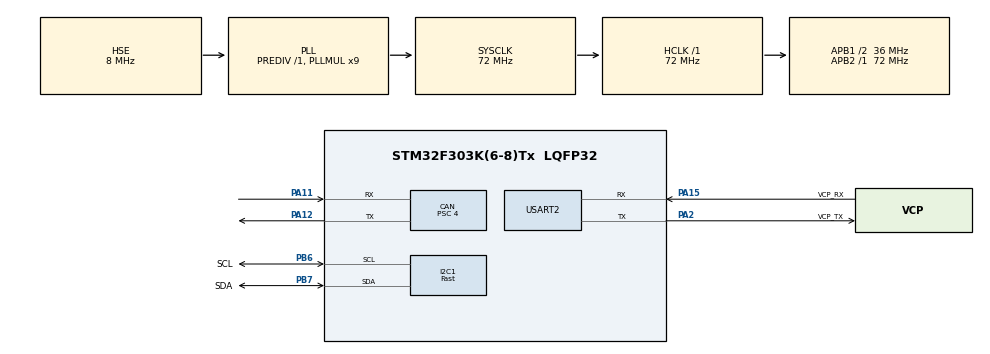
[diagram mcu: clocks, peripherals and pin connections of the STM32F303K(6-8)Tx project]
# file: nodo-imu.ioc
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CAN.ABOM=ENABLE
CAN.BS1=CAN_BS1_7TQ
CAN.CalculateTimeQuantum=111.11111111111111
CAN.Prescaler=4
CAN.TXFP=ENABLE
I2C1.I2C_Speed_Mode=I2C_Fast
I2C1.Timing=0x0000020B
Mcu.Family=STM32F3
Mcu.Name=STM32F303K(6-8)Tx
Mcu.Package=LQFP32
NVIC.PriorityGroup=NVIC_PRIORITYGROUP_4
PA11.Mode=Master
PA11.Signal=CAN_RX
PA12.Mode=Master
PA12.Signal=CAN_TX
PA13.GPIO_Label=SWDIO
PA13.Mode=Serial_Wire
PA13.Signal=SYS_JTMS-SWDIO
PA14.GPIO_Label=SWCLK
PA14.Mode=Serial_Wire
PA14.Signal=SYS_JTCK-SWCLK
PA15.GPIO_Label=VCP_RX
PA15.Mode=Asynchronous
PA15.Signal=USART2_RX
PA2.GPIO_Label=VCP_TX
PA2.Mode=Asynchronous
PA2.Signal=USART2_TX
PB6.GPIO_Label=SCL
PB6.Mode=I2C
PB6.Signal=I2C1_SCL
PB7.GPIO_Label=SDA
PB7.Mode=I2C
PB7.Signal=I2C1_SDA
PF0\ /\ OSC_IN.GPIO_Label=MCO
PF0\ /\ OSC_IN.Mode=HSE-External-Clock-Source
PF0\ /\ OSC_IN.Signal=RCC_OSC_IN
ProjectManager.HeapSize=0x200
ProjectManager.StackSize=0x400
ProjectManager.TargetToolchain=SW4STM32
RCC.AHBFreq_Value=72000000
RCC.APB1CLKDivider=RCC_HCLK_DIV2
RCC.APB1Freq_Value=36000000
RCC.APB1TimFreq_Value=72000000
RCC.APB2Freq_Value=72000000
RCC.APB2TimFreq_Value=72000000
RCC.CortexFreq_Value=72000000
RCC.HCLKFreq_Value=72000000
RCC.HSE_VALUE=8000000
RCC.HSI_VALUE=8000000
RCC.PLLMUL=RCC_PLL_MUL9
RCC.PLLSourceVirtual=RCC_PLLSOURCE_HSE
RCC.SYSCLKFreq_VALUE=72000000
RCC.SYSCLKSourceVirtual=RCC_SYSCLKSOURCE_PLLCLK
USART2.VirtualMode-Asynchronous=VM_ASYNC
board=NUCLEO-F303K8

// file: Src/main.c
/**
 ******************************************************************************
 * @file           : main.c
 * @brief          : Main program body
 ******************************************************************************
 ** This notice applies to any and all portions of this file
 * that are not between comment pairs USER CODE BEGIN and
 * USER CODE END. Other portions of this file, whether
 * inserted by the user or by software development tools
 * are owned by their respective copyright owners.
 *
 * COPYRIGHT(c) 2018 STMicroelectronics
 *
 * Redistribution and use in source and binary forms, with or without modification,
 * are permitted provided that the following conditions are met:
 *   1. Redistributions of source code must retain the above copyright notice,
 *      this list of conditions and the following disclaimer.
 *   2. Redistributions in binary form must reproduce the above copyright notice,
 *      this list of conditions and the following disclaimer in the documentation
 *      and/or other materials provided with the distribution.
 *   3. Neither the name of STMicroelectronics nor the names of its contributors
 *      may be used to endorse or promote products derived from this software
 *      without specific prior written permission.
 *
 * THIS SOFTWARE IS PROVIDED BY THE COPYRIGHT HOLDERS AND CONTRIBUTORS "AS IS"
 * AND ANY EXPRESS OR IMPLIED WARRANTIES, INCLUDING, BUT NOT LIMITED TO, THE
 * IMPLIED WARRANTIES OF MERCHANTABILITY AND FITNESS FOR A PARTICULAR PURPOSE ARE
 * DISCLAIMED. IN NO EVENT SHALL THE COPYRIGHT HOLDER OR CONTRIBUTORS BE LIABLE
 * FOR ANY DIRECT, INDIRECT, INCIDENTAL, SPECIAL, EXEMPLARY, OR CONSEQUENTIAL
 * DAMAGES (INCLUDING, BUT NOT LIMITED TO, PROCUREMENT OF SUBSTITUTE GOODS OR
 * SERVICES; LOSS OF USE, DATA, OR PROFITS; OR BUSINESS INTERRUPTION) HOWEVER
 * CAUSED AND ON ANY THEORY OF LIABILITY, WHETHER IN CONTRACT, STRICT LIABILITY,
 * OR TORT (INCLUDING NEGLIGENCE OR OTHERWISE) ARISING IN ANY WAY OUT OF THE USE
 * OF THIS SOFTWARE, EVEN IF ADVISED OF THE POSSIBILITY OF SUCH DAMAGE.
 *
 ******************************************************************************
 */
#include "main.h"
#include "stm32f3xx_hal.h"
#include "can.h"
#include "i2c.h"
#include "usart.h"
#include "gpio.h"

/* USER CODE BEGIN Includes */
#include "imu.h"
#include <string.h> //per usare memcpy
/* USER CODE END Includes */

/* USER CODE BEGIN PV */
/* Private variables ---------------------------------------------------------*/
#define ACCEL_ID 0x25  //25 e 26 sono 2 numeri a caso
#define GYRO_ID 0x26

/* USER CODE END PV */

void SystemClock_Config(void);

/* USER CODE BEGIN PFP */
/* Private function prototypes -----------------------------------------------*/

/* USER CODE END PFP */

/* USER CODE BEGIN 0 */
extern void initialise_monitor_handles(void);
/* USER CODE END 0 */

int main(void)
{
	/* USER CODE BEGIN 1 */
	initialise_monitor_handles();
	/* USER CODE END 1 */

	/* MCU Configuration----------------------------------------------------------*/

	/* Reset of all peripherals, Initializes the Flash interface and the Systick. */
	HAL_Init();

	/* Configure the system clock */
	SystemClock_Config();

	/* Initialize all configured peripherals */
	MX_GPIO_Init();
	MX_USART2_UART_Init();
	MX_I2C1_Init();
	MX_CAN_Init();
	/* USER CODE BEGIN 2 */
	int err=-1;
	float ax,ay,az,gx,gy,gz;

	printf("START...\n\r");

	while (err!=0)   {
		err=imu_init();
		if (err==0)
			printf("Inizializzazione IMU ok...\n\r");
		else
			err = imu_init();
	}

	//IMU CALIBRATION
	imu_cal();

	uint32_t last=HAL_GetTick();
	uint32_t tick;
	int16_t data_acc[3];
	int16_t data_gyr[3];
	float accx_sum=0,accy_sum=0,accz_sum=0,pitch_sum=0,roll_sum=0,yaw_sum=0;

	//definisco lunghezza dei miei pacchetti
	int dlc = 6;

	// variabile per eventuali codici errore
	HAL_StatusTypeDef canret;

	// struct messaggio da trasmettere
	CanTxMsgTypeDef canmsg;

	//passiamo alla HAL un puntatore al nostro messaggio.
	hcan.pTxMsg = &canmsg;

	// impostiamo il messaggio
	// IDE definisce la lunghezza dell'identificatore (std-11bit vs ext-29bit)
	canmsg.IDE = CAN_ID_STD;
	canmsg.RTR = CAN_RTR_DATA;

	// DLC definisce la lunghezza del pacchetto in Byte: min=0, max=8
	canmsg.DLC = dlc;

	while(1)   {
		for(int i=0; i<=9; i++)   {
			do   {
				tick=HAL_GetTick();

			}
			while(tick-last<1);
			last=tick;

			err=-1;
			while (err!=0)   {
				err=imu_read();
				if (err==0) continue;
				else   {
					printf("Dati non letti...\n\r");
					err = imu_read();
				}
			}

			accx_sum+=imu.acc.x;
			accy_sum+=imu.acc.y;
			accz_sum+=imu.acc.z;

			pitch_sum+=imu.gyr.x;
			roll_sum+=imu.gyr.y;
			yaw_sum+=imu.gyr.z;

		}

		ax=accx_sum/10;
		ay=accy_sum/10;
		az=accz_sum/10;
		gx=pitch_sum/10;
		gy=roll_sum/10;
		gz=yaw_sum/10;

		data_acc[0]=ax;
		data_acc[1]=ay;
		data_acc[2]=az;

		data_gyr[0]=gx;
		data_gyr[1]=gy;
		data_gyr[2]=gz;

		/*printf("L'accelerazione lungo x e': %f\n\r",ax);
		printf("L'accelerazione lungo y e': %f\n\r",ay);
		printf("L'accelerazione lungo z e': %f\n\r",az);

		printf("Il rollio     (roll)  e': %f \n\r",gx);
		printf("Il beccheggio (pitch) e': %f \n\r",gy);
		printf("L' imbardata  (yaw)   e': %f \n\r",gz);*/

		//TRASMISIONE CAN

		// scegliamo id per il pacchetto
		canmsg.StdId = ACCEL_ID;

		//metto i dati nel pacchetto
		memcpy(canmsg.Data, (void*)data_acc,dlc);

		// chiediamo la tramsissione del messaggio di cui abbiamo fornito il
		// puntatore in precendenza
		canret = HAL_CAN_Transmit_IT(&hcan);

		// scegliamo id per il pacchetto
		canmsg.StdId = GYRO_ID;

		//metto i dati nel pacchetto
		memcpy(canmsg.Data, (void*)data_gyr,dlc);

		// chiediamo la tramsissione del messaggio di cui abbiamo fornito il
		// puntatore in precendenza
		canret = HAL_CAN_Transmit_IT(&hcan);

		// se la funzione fallisce probabilmente abbiamo chiesto troppe
		// trasmissioni in troppo poco tempo, "cassetta delle lettere piena" o
		// "coda piena", dato che al massimo si possono accodare 3 messaggi.
		// non c'e' stato tempo per sbrogliare tutte le richieste, forse il bus
		// e' troppo impegnato con messaggi di priorità superiore (id inferiore)
		if (canret) printf("canret = %d\n",canret);

		accx_sum=accy_sum=accz_sum=pitch_sum=roll_sum=yaw_sum=0; //azzero le somme

	}
	/* USER CODE END 2 */

	/* Infinite loop */
	while (1)
	{

	}

}

void SystemClock_Config(void)
{

	RCC_OscInitTypeDef RCC_OscInitStruct;
	RCC_ClkInitTypeDef RCC_ClkInitStruct;
	RCC_PeriphCLKInitTypeDef PeriphClkInit;

	/**Initializes the CPU, AHB and APB busses clocks
	 */
	RCC_OscInitStruct.OscillatorType = RCC_OSCILLATORTYPE_HSI|RCC_OSCILLATORTYPE_HSE;
	RCC_OscInitStruct.HSEState = RCC_HSE_BYPASS;
	RCC_OscInitStruct.HSEPredivValue = RCC_HSE_PREDIV_DIV1;
	RCC_OscInitStruct.HSIState = RCC_HSI_ON;
	RCC_OscInitStruct.HSICalibrationValue = 16;
	RCC_OscInitStruct.PLL.PLLState = RCC_PLL_ON;
	RCC_OscInitStruct.PLL.PLLSource = RCC_PLLSOURCE_HSE;
	RCC_OscInitStruct.PLL.PLLMUL = RCC_PLL_MUL9;
	if (HAL_RCC_OscConfig(&RCC_OscInitStruct) != HAL_OK)
	{
		_Error_Handler(__FILE__, __LINE__);
	}

	/**Initializes the CPU, AHB and APB busses clocks
	 */
	RCC_ClkInitStruct.ClockType = RCC_CLOCKTYPE_HCLK|RCC_CLOCKTYPE_SYSCLK
			|RCC_CLOCKTYPE_PCLK1|RCC_CLOCKTYPE_PCLK2;
	RCC_ClkInitStruct.SYSCLKSource = RCC_SYSCLKSOURCE_PLLCLK;
	RCC_ClkInitStruct.AHBCLKDivider = RCC_SYSCLK_DIV1;
	RCC_ClkInitStruct.APB1CLKDivider = RCC_HCLK_DIV2;
	RCC_ClkInitStruct.APB2CLKDivider = RCC_HCLK_DIV1;

	if (HAL_RCC_ClockConfig(&RCC_ClkInitStruct, FLASH_LATENCY_2) != HAL_OK)
	{
		_Error_Handler(__FILE__, __LINE__);
	}

	PeriphClkInit.PeriphClockSelection = RCC_PERIPHCLK_I2C1;
	PeriphClkInit.I2c1ClockSelection = RCC_I2C1CLKSOURCE_HSI;
	if (HAL_RCCEx_PeriphCLKConfig(&PeriphClkInit) != HAL_OK)
	{
		_Error_Handler(__FILE__, __LINE__);
	}

	/**Configure the Systick interrupt time
	 */
	HAL_SYSTICK_Config(HAL_RCC_GetHCLKFreq()/1000);

	/**Configure the Systick
	 */
	HAL_SYSTICK_CLKSourceConfig(SYSTICK_CLKSOURCE_HCLK);

	/* SysTick_IRQn interrupt configuration */
	HAL_NVIC_SetPriority(SysTick_IRQn, 0, 0);
}

void _Error_Handler(char *file, int line)
{
	while(1)
	{
	}
}

/************************ (C) COPYRIGHT STMicroelectronics *****END OF FILE****/
